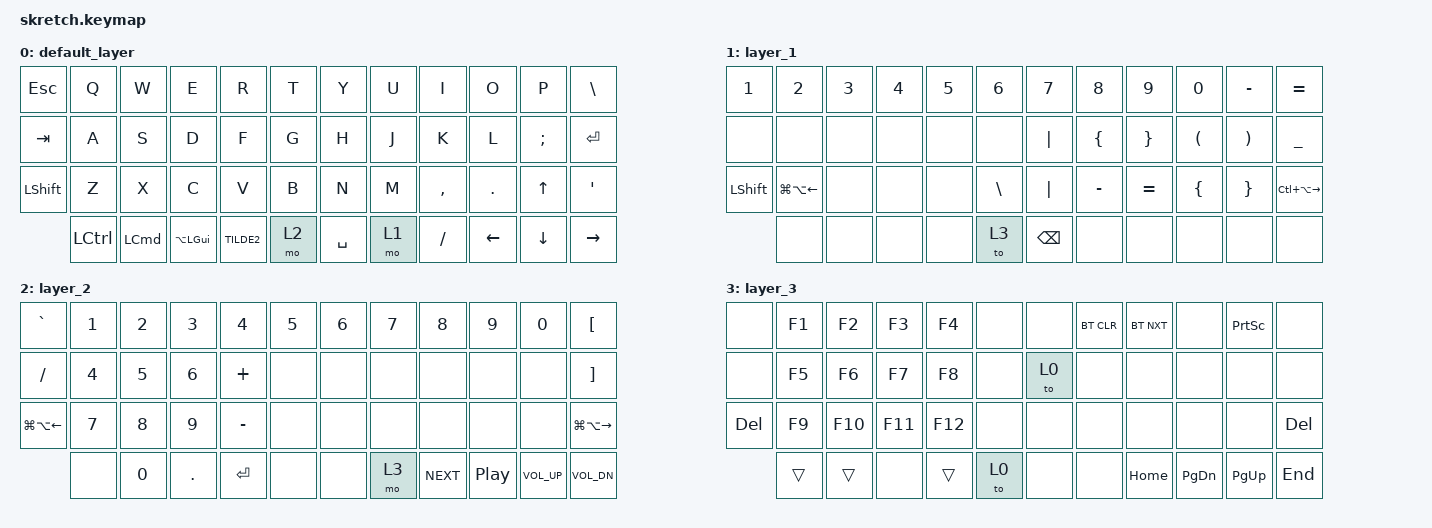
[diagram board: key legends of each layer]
#include <behaviors.dtsi>
#include <dt-bindings/zmk/bt.h>
#include <dt-bindings/zmk/keys.h>

/ {
    macros {
        screen_tab_left: screen_tab {
            compatible = "zmk,behavior-macro";
            #binding-cells = <0>;
            bindings = <&kp LG(LA(RIGHT_ARROW))>;
            label = "SCREEN_TAB";
        };

        file_tab_right: file_tab_right {
            compatible = "zmk,behavior-macro";
            #binding-cells = <0>;
            bindings = <&kp LA(LG(RIGHT_ARROW))>;
            label = "FILE_TAB_RIGHT";
        };
    };

    keymap {
        compatible = "zmk,keymap";

        default_layer {
            bindings = <
&kp ESC    &kp Q             &kp W             &kp E         &kp R       &kp T  &kp Y      &kp U  &kp I      &kp O     &kp P     &kp BACKSLASH
&kp TAB    &kp A             &kp S             &kp D         &kp F       &kp G  &kp H      &kp J  &kp K      &kp L     &kp SEMI  &kp RETURN
&kp LSHFT  &kp Z             &kp X             &kp C         &kp V       &kp B  &kp N      &kp M  &kp COMMA  &kp DOT   &kp UP    &kp SQT
           &kp LEFT_CONTROL  &kp LEFT_COMMAND  &kp LA(LGUI)  &kp TILDE2  &mo 2  &kp SPACE  &mo 1  &kp FSLH   &kp LEFT  &kp DOWN  &kp RIGHT
            >;
        };

        layer_1 {
            bindings = <
&kp NUMBER_1    &kp NUMBER_2            &kp NUMBER_3  &kp NUMBER_4  &kp N5  &kp NUMBER_6  &kp N7         &kp N8          &kp N9           &kp N0                &kp MINUS              &kp EQUAL
&none           &none                   &none         &none         &none   &none         &kp PIPE       &kp LEFT_BRACE  &kp RIGHT_BRACE  &kp LEFT_PARENTHESIS  &kp RIGHT_PARENTHESIS  &kp UNDERSCORE
&kp LEFT_SHIFT  &kp LG(LA(LEFT_ARROW))  &none         &none         &none   &kp BSLH      &kp PIPE       &kp MINUS       &kp EQUAL        &kp LBRC              &kp RBRC               &kp LC(LA(RIGHT))
                &none                   &none         &none         &none   &to 3         &kp BACKSPACE  &none           &none            &none                 &none                  &none
            >;
        };

        layer_2 {
            bindings = <
&kp GRAVE               &kp N1  &kp N2  &kp N3   &kp N4     &kp N5  &kp N6  &kp N7  &kp N8      &kp N9    &kp N0        &kp LEFT_BRACKET
&kp SLASH               &kp N4  &kp N5  &kp N6   &kp PLUS   &none   &none   &none   &none       &none     &none         &kp RIGHT_BRACKET
&kp LG(LA(LEFT_ARROW))  &kp N7  &kp N8  &kp N9   &kp MINUS  &none   &none   &none   &none       &none     &none         &kp LG(LA(RIGHT))
                        &none   &kp N0  &kp DOT  &kp ENTER  &none   &none   &mo 3   &kp C_NEXT  &kp C_PP  &kp C_VOL_UP  &kp C_VOL_DN
            >;
        };

        layer_3 {
            bindings = <
&none    &kp F1  &kp F2   &kp F3   &kp F4   &none  &none  &bt BT_CLR  &bt BT_NXT  &none      &kp PSCRN  &none
&none    &kp F5  &kp F6   &kp F7   &kp F8   &none  &to 0  &none       &none       &none      &none      &none
&kp DEL  &kp F9  &kp F10  &kp F11  &kp F12  &none  &none  &none       &none       &none      &none      &kp DEL
         &trans  &trans   &none    &trans   &to 0  &none  &none       &kp HOME    &kp PG_DN  &kp PG_UP  &kp END
            >;
        };
    };
};
